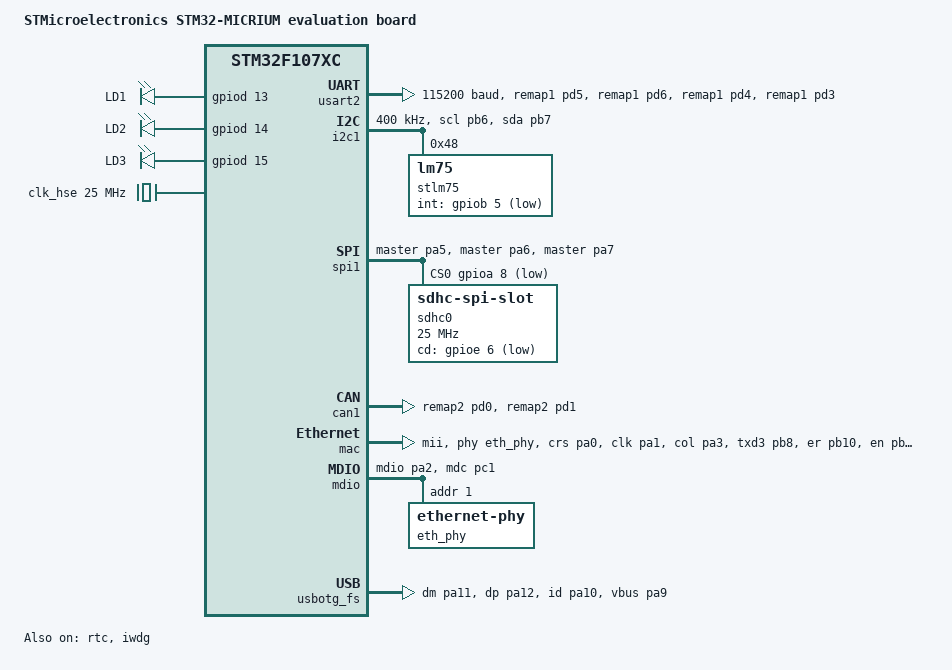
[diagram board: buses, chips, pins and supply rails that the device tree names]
/*
 * SPDX-FileCopyrightText: Copyright The Zephyr Project Contributors
 * SPDX-License-Identifier: Apache-2.0
 */

/dts-v1/;
#include <st/f1/stm32f107Xc.dtsi>
#include <st/f1/stm32f107v(b-c)tx-pinctrl.dtsi>

/ {
	model = "STMicroelectronics STM32-MICRIUM evaluation board";
	compatible = "st,stm32-micrium";

	chosen {
		zephyr,console = &usart2;
		zephyr,shell-uart = &usart2;
		zephyr,sram = &sram0;
		zephyr,flash = &flash0;
		zephyr,canbus = &can1;
	};

	leds {
		compatible = "gpio-leds";

		green_led_1: led_1 {
			gpios = <&gpiod 13 GPIO_ACTIVE_HIGH>;
			label = "LD1";
		};

		orange_led_2: led_2 {
			gpios = <&gpiod 14 GPIO_ACTIVE_HIGH>;
			label = "LD2";
		};

		red_led_3: led_3 {
			gpios = <&gpiod 15 GPIO_ACTIVE_HIGH>;
			label = "LD3";
		};
	};

	aliases {
		led0 = &green_led_1;
		led1 = &orange_led_2;
		led2 = &red_led_3;
		ambient-temp0 = &stlm75;
		rtc = &rtc;
		sdhc0 = &sdhc0;
		watchdog0 = &iwdg;
	};
};

&clk_lse {
	status = "okay";
};

&clk_hse {
	clock-frequency = <DT_FREQ_M(25)>;
	status = "okay";
};

&pll2 {
	/* 25 MHz / 5 * 8 = 40 MHz */
	mul = <8>;
	prediv = <5>;
	status = "okay";
};

&pll {
	/* 40 MHz / 5 * 9 = 72 MHz */
	mul = <9>;
	prediv = <5>;
	clocks = <&pll2>;
	status = "okay";
};

&rcc {
	clocks = <&pll>;
	clock-frequency = <DT_FREQ_M(72)>;
	ahb-prescaler = <1>;
	apb1-prescaler = <2>;
	apb2-prescaler = <1>;
};

&usart2 {
	pinctrl-0 = <&usart2_tx_remap1_pd5 &usart2_rx_remap1_pd6
		     &usart2_rts_remap1_pd4 &usart2_cts_remap1_pd3>;
	pinctrl-names = "default";
	current-speed = <115200>;
	status = "okay";
};

&i2c1 {
	pinctrl-0 = <&i2c1_scl_pb6 &i2c1_sda_pb7>;
	pinctrl-names = "default";
	clock-frequency = <I2C_BITRATE_FAST>;
	status = "okay";

	stlm75: stlm75@48 {
		compatible = "lm75";
		reg = <0x48>;
		int-gpios = <&gpiob 5 GPIO_ACTIVE_LOW>;
	};
};

&spi1 {
	pinctrl-0 = <&spi1_sck_master_pa5 &spi1_miso_master_pa6 &spi1_mosi_master_pa7>;
	pinctrl-names = "default";
	cs-gpios = <&gpioa 8 GPIO_ACTIVE_LOW>;
	status = "okay";

	sdhc0: sdhc@0 {
		compatible = "zephyr,sdhc-spi-slot";
		reg = <0>;
		spi-max-frequency = <DT_FREQ_M(25)>;
		cd-gpios = <&gpioe 6 (GPIO_ACTIVE_LOW | GPIO_PULL_UP)>;
		status = "okay";

		mmc {
			compatible = "zephyr,sdmmc-disk";
			disk-name = "SD";
			status = "okay";
		};
	};
};

&can1 {
	pinctrl-0 = <&can1_rx_remap2_pd0 &can1_tx_remap2_pd1>;
	pinctrl-names = "default";
	status = "okay";

	can-transceiver {
		max-bitrate = <1000000>;
	};
};

&mac {
	pinctrl-0 = <&eth_crs_pa0
		     &eth_rx_clk_pa1
		     &eth_col_pa3
		     &eth_txd3_pb8
		     &eth_rx_er_pb10
		     &eth_tx_en_pb11
		     &eth_txd0_pb12
		     &eth_txd1_pb13
		     &eth_txd2_pc2
		     &eth_tx_clk_pc3
		     &eth_rx_dv_remap1_pd8
		     &eth_rxd0_remap1_pd9
		     &eth_rxd1_remap1_pd10
		     &eth_rxd2_remap1_pd11
		     &eth_rxd3_remap1_pd12>;
	pinctrl-names = "default";
	phy-connection-type = "mii";
	phy-handle = <&eth_phy>;
	status = "okay";
};

&mdio {
	pinctrl-0 = <&eth_mdio_pa2 &eth_mdc_pc1>;
	pinctrl-names = "default";
	status = "okay";

	eth_phy: ethernet-phy@1 {
		compatible = "ethernet-phy";
		reg = <0x01>;
	};
};

zephyr_udc0: &usbotg_fs {
	pinctrl-0 = <&usb_otg_fs_dm_pa11 &usb_otg_fs_dp_pa12
		     &usb_otg_fs_id_pa10 &usb_otg_fs_vbus_pa9>;
	pinctrl-names = "default";
	status = "okay";
};

&rtc {
	clocks = <&rcc STM32_CLOCK(APB1, 28)>,
		 <&rcc STM32_SRC_LSE RTC_SEL(1)>;
	status = "okay";
};

&iwdg {
	status = "okay";
};
